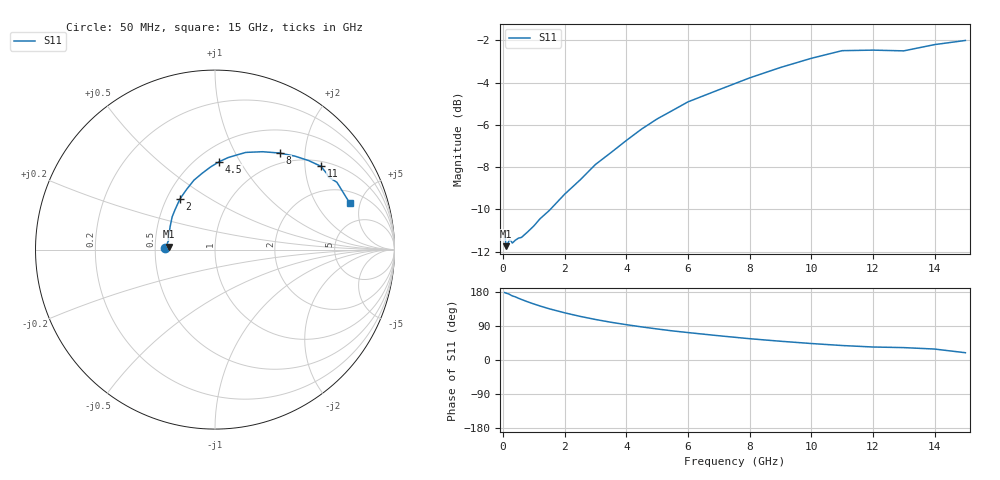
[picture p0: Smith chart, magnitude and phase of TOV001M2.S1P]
! SIEMENS Small Signal Semiconductors
! BAT15-03W
! Si Schottky Diode in SOD323
! IF = 1.2 mA
! S-Parameters:  May  1996
# GHz  S  MA  R  50
!  f  S11
! GHz  MAG  ANG
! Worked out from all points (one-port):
!   31 points, 50 MHz to 15 GHz, reference 50 ohm
!   lowest |S11| = -11.7 dB at 100 MHz (marker M1), VSWR 1.70, Z = 29.5 + j0.998 ohm
!   |S11| at or under -10 dB: start of sweep to 1.531 GHz
!   S11 on the Smith chart (normalised r, x): 50 MHz: 0.56, +0.01; 2 GHz: 0.58, +0.38; 4.5 GHz: 0.64, +0.82; 8 GHz: 0.83, +1.54; 11 GHz: 1.14, +2.42; 15 GHz: 2.83, +3.99
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0.05  0.2783 177.9
0.1  0.2589 176.5
0.15  0.2619 175.1
0.2  0.2677 173.7
0.25  0.267 171.3
0.3  0.2634 169.2
0.4  0.2675 166.6
0.6  0.2717 159.7
1  0.2891 147.8
1.2  0.3006 142.5
1.5  0.3145 135.1
2  0.3437 124.5
2.5  0.3714 115.1
3  0.4041 106.9
3.5  0.4309 99.6
4  0.4604 93.2
4.5  0.4903 87.3
5  0.5178 81.9
6  0.5681 72.4
7  0.6067 64.0
8  0.6473 56.2
9  0.6851 49.5
10  0.7201 43.5
11  0.7508 38.2
12  0.753 34.3
13  0.75 32.7
14  0.7759 28.9
15  0.7937 19.2
